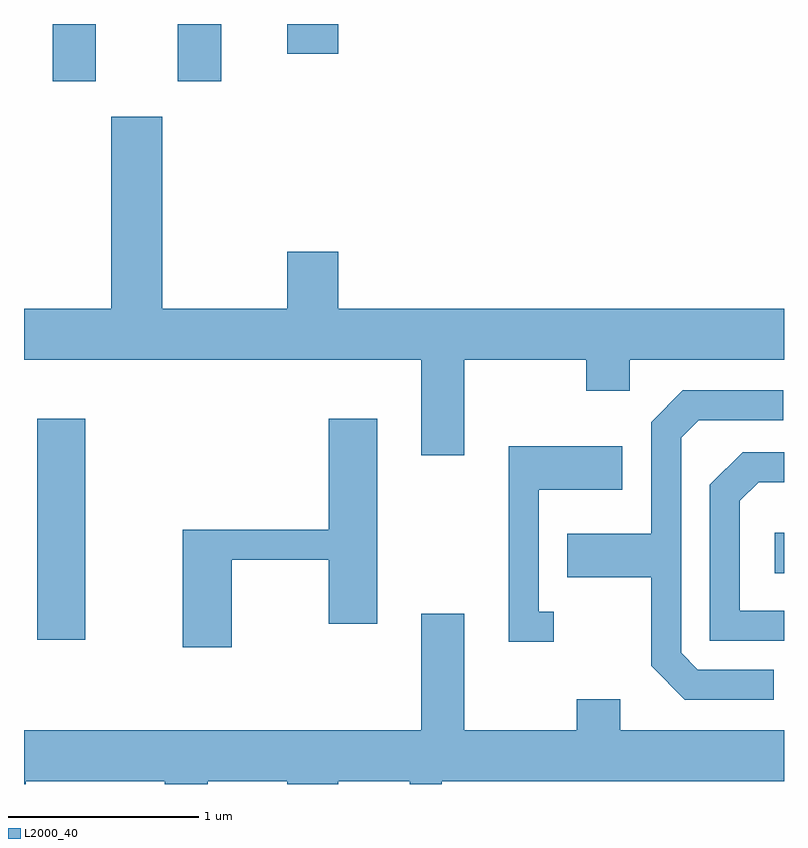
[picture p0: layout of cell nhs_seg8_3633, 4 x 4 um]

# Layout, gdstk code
import gdstk
lib = gdstk.Library(unit=1e-6, precision=1e-09)
def R(c, l, rs):  # rectangles x0, y0, x1, y1
    for r in rs: c.add(gdstk.rectangle(r[:2], r[2:], *l))
def P(c, l, *ps):  # polygons
    for p in ps: c.add(gdstk.Polygon(p, *l))
L2000_40 = (2000, 40)

nhs_seg8_3633 = lib.new_cell('nhs_seg8_3633')
R(nhs_seg8_3633, L2000_40, [(293.681,1897.101,293.934,1898.264), (297.561,1897.451,297.611,1897.664), (293.761,1900.041,293.989,1900.342), (294.421,1900.041,294.649,1900.342), (294.996,1900.186,295.264,1900.342)])
P(nhs_seg8_3633, L2000_40, [(295.929,1898.576),(296.571,1898.576),(296.571,1898.411),(296.799,1898.411),(296.799,1898.576),(297.611,1898.576),(297.611,1898.844),(295.264,1898.844),(295.264,1899.144),(294.996,1899.144),(294.996,1898.844),(294.339,1898.844),(294.339,1899.854),(294.071,1899.854),(294.071,1898.844),(293.611,1898.844),(293.611,1898.576),(295.701,1898.576),(295.701,1898.071),(295.929,1898.071)],
  [(297.558,1896.944),(297.157,1896.944),(297.069,1897.032),(297.069,1898.164),(297.162,1898.256),(297.608,1898.256),(297.608,1898.414),(297.079,1898.414),(296.911,1898.247),(296.911,1897.659),(296.471,1897.659),(296.471,1897.431),(296.911,1897.431),(296.911,1896.964),(297.089,1896.786),(297.558,1896.786)],
  [(294.704,1897.521),(295.216,1897.521),(295.216,1897.186),(295.469,1897.186),(295.469,1898.264),(295.216,1898.264),(295.216,1897.679),(294.446,1897.679),(294.446,1897.061),(294.704,1897.061)],
  [(296.398,1897.249),(296.319,1897.249),(296.319,1897.891),(296.759,1897.891),(296.759,1898.119),(296.161,1898.119),(296.161,1897.091),(296.398,1897.091)],
  [(297.611,1897.254),(297.379,1897.254),(297.379,1897.834),(297.477,1897.931),(297.611,1897.931),(297.611,1898.089),(297.394,1898.089),(297.221,1897.917),(297.221,1897.096),(297.611,1897.096)],
  [(293.619,1896.356),(294.351,1896.356),(294.351,1896.342),(294.579,1896.342),(294.579,1896.356),(294.996,1896.356),(294.996,1896.342),(295.264,1896.342),(295.264,1896.356),(295.641,1896.356),(295.641,1896.342),(295.809,1896.342),(295.809,1896.356),(297.611,1896.356),(297.611,1896.624),(296.749,1896.624),(296.749,1896.789),(296.521,1896.789),(296.521,1896.624),(295.929,1896.624),(295.929,1897.239),(295.701,1897.239),(295.701,1896.624),(293.611,1896.624),(293.611,1896.342),(293.619,1896.342)])

lib.write_gds('nhs_seg8_3633.gds')
